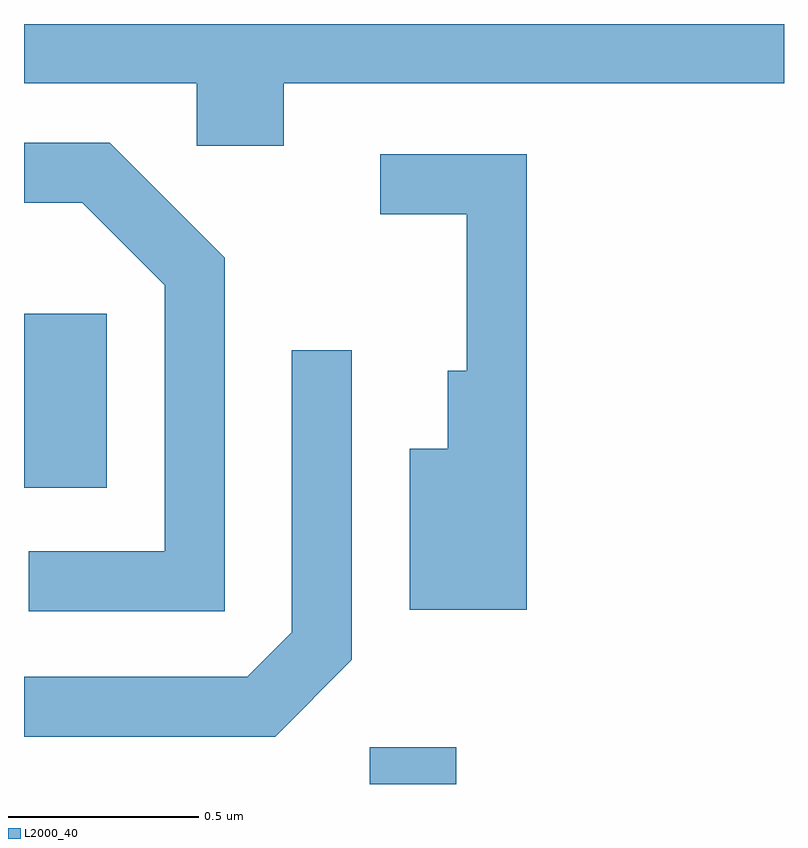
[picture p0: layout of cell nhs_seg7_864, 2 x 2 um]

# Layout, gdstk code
import gdstk
lib = gdstk.Library(unit=1e-6, precision=1e-09)
def R(c, l, rs):  # rectangles x0, y0, x1, y1
    for r in rs: c.add(gdstk.rectangle(r[:2], r[2:], *l))
def P(c, l, *ps):  # polygons
    for p in ps: c.add(gdstk.Polygon(p, *l))
L2000_40 = (2000, 40)

nhs_seg7_864 = lib.new_cell('nhs_seg7_864')
R(nhs_seg7_864, L2000_40, [(192.521,1710.252,192.749,1710.349), (191.611,1711.031,191.829,1711.489)])
P(nhs_seg7_864, L2000_40, [(192.294,1712.096),(193.611,1712.096),(193.611,1712.252),(191.611,1712.252),(191.611,1712.096),(192.066,1712.096),(192.066,1711.931),(192.294,1711.931)],
  [(192.139,1711.637),(191.837,1711.939),(191.611,1711.939),(191.611,1711.781),(191.764,1711.781),(191.981,1711.564),(191.981,1710.864),(191.623,1710.864),(191.623,1710.706),(192.139,1710.706)],
  [(192.934,1711.909),(192.548,1711.909),(192.548,1711.751),(192.776,1711.751),(192.776,1711.339),(192.726,1711.339),(192.726,1711.134),(192.626,1711.134),(192.626,1710.711),(192.934,1710.711)],
  [(192.474,1710.579),(192.474,1711.393),(192.316,1711.393),(192.316,1710.652),(192.199,1710.534),(191.611,1710.534),(191.611,1710.376),(192.272,1710.376)])

lib.write_gds('nhs_seg7_864.gds')
